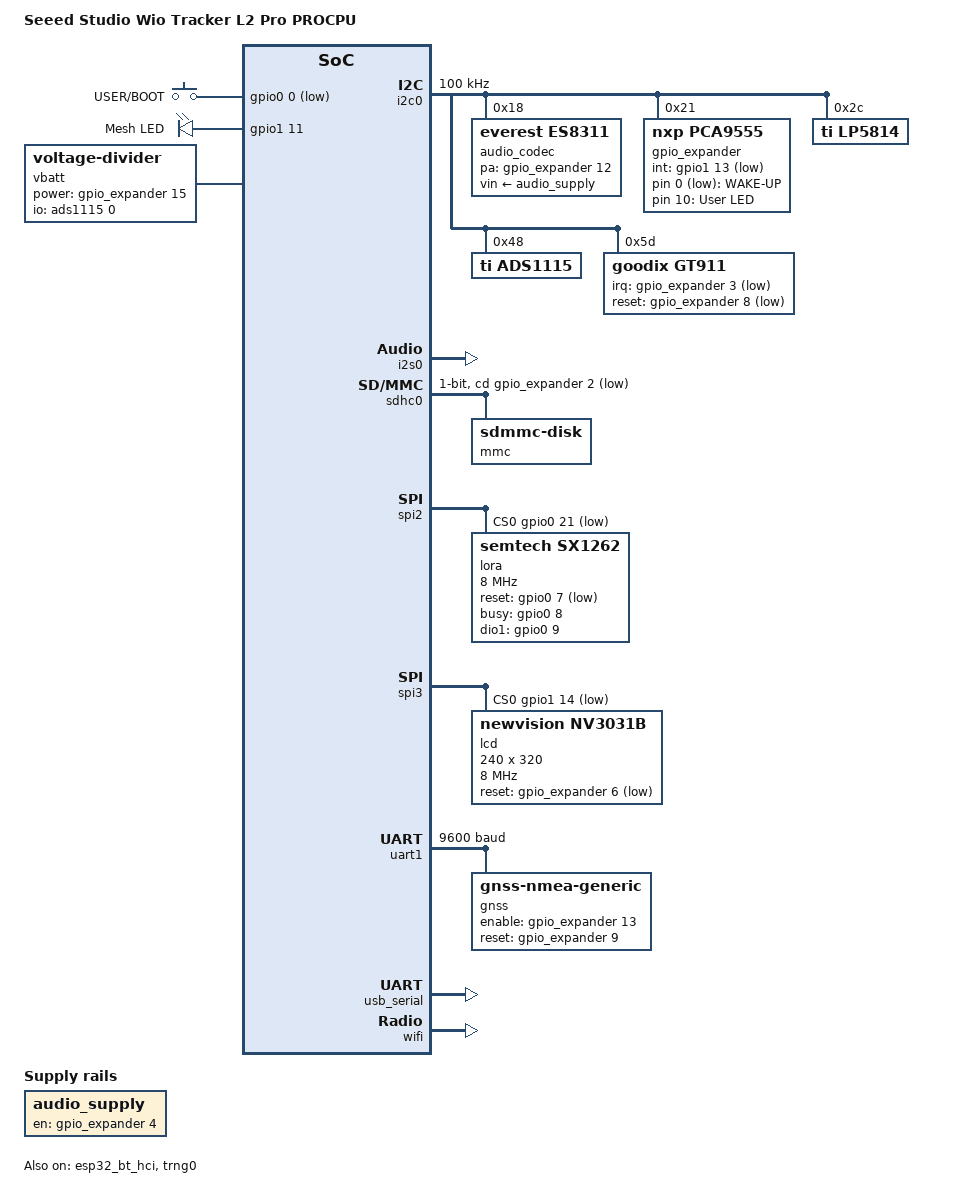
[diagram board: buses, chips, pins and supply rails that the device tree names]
/*
 * SPDX-FileCopyrightText: Copyright The Zephyr Project Contributors
 * SPDX-License-Identifier: Apache-2.0
 */

/dts-v1/;

#include "wio_tracker_l2.dtsi"
#include "wio_tracker_l2-pinctrl.dtsi"
#include <zephyr/dt-bindings/adc/adc.h>
#include <zephyr/dt-bindings/input/input-event-codes.h>
#include <zephyr/dt-bindings/lora/sx126x.h>

/ {
	compatible = "seeed,wio-tracker-l2";
	model = "Seeed Studio Wio Tracker L2 Pro PROCPU";

	chosen {
		zephyr,sram = &sram1;
		zephyr,console = &usb_serial;
		zephyr,shell-uart = &usb_serial;
		zephyr,flash = &flash0;
		zephyr,code-partition = &slot0_partition;
		zephyr,display = &lcd;
		zephyr,touch = &gt911;
	};

	aliases {
		gnss = &gnss;
		i2s-codec-tx = &i2s0;
		led0 = &mesh_led;
		led1 = &user_led;
		lora0 = &lora;
		sw0 = &user_button;
		sw1 = &wakeup_button;
		volt-sensor0 = &vbatt;
		sdhc0 = &sdhc0;
	};

	audio_supply: regulator-audio {
		compatible = "regulator-fixed";
		regulator-name = "audio-codec";
		enable-gpios = <&gpio_expander 4 GPIO_ACTIVE_HIGH>;
	};

	buttons {
		compatible = "gpio-keys";
		/* The GPIO expander does not support disconnecting its pins. */
		zephyr,suspend-action = "none";

		user_button: button_0 {
			gpios = <&gpio0 0 (GPIO_PULL_UP | GPIO_ACTIVE_LOW)>;
			label = "USER/BOOT";
			zephyr,code = <INPUT_KEY_0>;
		};

		wakeup_button: button-1 {
			gpios = <&gpio_expander 0 GPIO_ACTIVE_LOW>;
			label = "WAKE-UP";
			zephyr,code = <INPUT_KEY_WAKEUP>;
		};
	};

	leds {
		compatible = "gpio-leds";

		mesh_led: led-0 {
			gpios = <&gpio1 11 GPIO_ACTIVE_HIGH>;
			label = "Mesh LED";
		};

		user_led: led-1 {
			gpios = <&gpio_expander 10 GPIO_ACTIVE_HIGH>;
			label = "User LED";
		};
	};

	vbatt: vbatt {
		compatible = "voltage-divider";
		io-channels = <&ads1115 0>;
		/* Only the 2:1 divider ratio is specified; resistances are normalized. */
		output-ohms = <1>;
		full-ohms = <2>;
		power-gpios = <&gpio_expander 15 GPIO_ACTIVE_HIGH>;
		skip-calibration;
	};
};

&dma {
	status = "okay";
};

&esp32_bt_hci {
	status = "okay";
};

&gpio0 {
	status = "okay";
};

&gpio1 {
	status = "okay";
};

&i2c0 {
	pinctrl-0 = <&i2c0_default>;
	pinctrl-names = "default";
	clock-frequency = <I2C_BITRATE_STANDARD>;
	status = "okay";

	audio_codec: codec@18 {
		compatible = "everest,es8311";
		reg = <0x18>;
		vin-supply = <&audio_supply>;
		pa-gpios = <&gpio_expander 12 GPIO_ACTIVE_HIGH>;
	};

	gpio_expander: gpio@21 {
		compatible = "nxp,pca9555";
		reg = <0x21>;
		gpio-controller;
		#gpio-cells = <2>;
		ngpios = <16>;
		int-gpios = <&gpio1 13 GPIO_ACTIVE_LOW>;
		/* Retain the power and reset controls shared with other peripherals. */
		no-auto-reset;

		lcd_touch_power {
			gpio-hog;
			gpios = <5 GPIO_ACTIVE_HIGH>;
			output-high;
			line-name = "lcd-touch-power";
		};
	};

	lp5814: led-controller@2c {
		compatible = "ti,lp5814";
		reg = <0x2c>;

		backlight0: led-0 {
			index = <0>;
			led-max-microamp = <40000>;
		};

		backlight1: led-1 {
			index = <1>;
			led-max-microamp = <40000>;
		};

		backlight2: led-2 {
			index = <2>;
			led-max-microamp = <40000>;
		};

		backlight3: led-3 {
			index = <3>;
			led-max-microamp = <40000>;
		};
	};

	ads1115: adc@48 {
		compatible = "ti,ads1115";
		reg = <0x48>;
		#address-cells = <1>;
		#size-cells = <0>;
		#io-channel-cells = <1>;

		channel@0 {
			reg = <0>;
			zephyr,gain = "ADC_GAIN_1_2";
			zephyr,reference = "ADC_REF_INTERNAL";
			zephyr,acquisition-time = <ADC_ACQ_TIME_DEFAULT>;
			zephyr,input-positive = <0>;
			zephyr,resolution = <15>;
		};
	};

	gt911: touch-controller@5d {
		compatible = "goodix,gt911";
		reg = <0x5d>;
		irq-gpios = <&gpio_expander 3 GPIO_ACTIVE_LOW>;
		reset-gpios = <&gpio_expander 8 GPIO_ACTIVE_LOW>;
		screen-width = <240>;
		screen-height = <320>;
		inverted-y;
		swapped-x-y;
	};
};

&i2s0 {
	pinctrl-0 = <&i2s0_default>;
	pinctrl-names = "default";
	status = "okay";
};

&sdhc0 {
	pinctrl-0 = <&sdhc0_default>;
	pinctrl-1 = <&sdhc0_sleep>;
	pinctrl-names = "default", "sleep";
	max-bus-freq = <40000000>;
	bus-width = <1>;
	cd-gpios = <&gpio_expander 2 GPIO_ACTIVE_LOW>;
	pwr-gpios = <&gpio_expander 14 GPIO_ACTIVE_HIGH>;
	status = "okay";

	mmc {
		compatible = "zephyr,sdmmc-disk";
		disk-name = "SD";
	};
};

&spi2 {
	#address-cells = <1>;
	#size-cells = <0>;
	pinctrl-0 = <&spi2_default>;
	pinctrl-names = "default";
	cs-gpios = <&gpio0 21 GPIO_ACTIVE_LOW>;
	status = "okay";

	lora: lora@0 {
		compatible = "semtech,sx1262";
		reg = <0>;
		spi-max-frequency = <8000000>;
		reset-gpios = <&gpio0 7 GPIO_ACTIVE_LOW>;
		busy-gpios = <&gpio0 8 GPIO_ACTIVE_HIGH>;
		dio1-gpios = <&gpio0 9 GPIO_ACTIVE_HIGH>;
		dio2-tx-enable;
		dio3-tcxo-voltage = <SX126X_DIO3_TCXO_3V0>;
		tcxo-power-startup-delay-ms = <5>;
	};
};

&spi3 {
	#address-cells = <1>;
	#size-cells = <0>;
	pinctrl-0 = <&spi3_default>;
	pinctrl-names = "default";
	cs-gpios = <&gpio1 14 GPIO_ACTIVE_LOW>;
	status = "okay";

	lcd: display@0 {
		compatible = "newvision,nv3031b";
		reg = <0>;
		spi-max-frequency = <8000000>;
		spi-cpol;
		spi-cpha;
		width = <240>;
		height = <320>;
		rotation = <90>;
		reset-gpios = <&gpio_expander 6 GPIO_ACTIVE_LOW>;
		backlight-leds = <&backlight0>, <&backlight1>, <&backlight2>, <&backlight3>;
		brightness = <64>;
		source-timing = [0c];
		gate-timing = [07 04];
		inversion-control = [01];
		frame-rate = [0f 02 03];
		porch-control = [02 02 0a 14];
		display-function = [44 01 9f 00 02];
		bias-trim = [11];
		bias-current = [21];
		power-control = [90 4f 27 21];
		gamma-positive-voltage = [20 69];
		gamma-negative-voltage = [69 20];
		gamma-positive-mid = [10 12 12 30 39 3f];
		gamma-negative-mid = [3f 33 2d 12 12 10];
		gamma-positive = [06 06 0b 12 11 11 0e 19];
		gamma-negative = [19 13 14 14 14 12 08 05];
		power-slope = [00 ff];
		source-equalization = [01 04 03 03 00 12];
		source-level = [00 70 00];
		gate-equalization = [54];
	};
};

&trng0 {
	status = "okay";
};

&uart1 {
	current-speed = <9600>;
	pinctrl-0 = <&uart1_default>;
	pinctrl-names = "default";
	status = "okay";

	gnss: gnss-nmea-generic {
		compatible = "gnss-nmea-generic";
		enable-gpios = <&gpio_expander 13 GPIO_ACTIVE_HIGH>;
		reset-gpios = <&gpio_expander 9 GPIO_ACTIVE_HIGH>;
		reset-pulse-duration-ms = <100>;
		startup-time-ms = <10>;
	};
};

&usb_serial {
	status = "okay";
};

&wifi {
	status = "okay";
};
